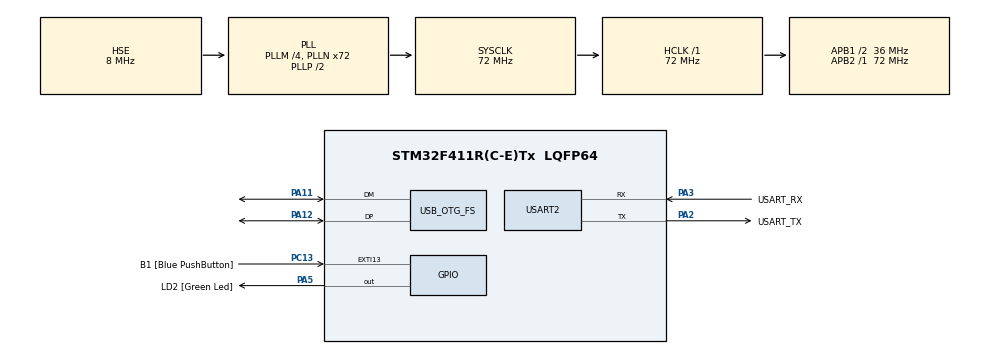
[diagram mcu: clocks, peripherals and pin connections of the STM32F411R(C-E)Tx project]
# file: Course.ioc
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IWDG.Prescaler=IWDG_PRESCALER_128
Mcu.Family=STM32F4
Mcu.Name=STM32F411R(C-E)Tx
Mcu.Package=LQFP64
NVIC.EXTI15_10_IRQn=true\:0\:0\:false\:false\:true\:true\:true\:true
NVIC.OTG_FS_IRQn=true\:0\:0\:false\:false\:true\:true\:true\:true
NVIC.PriorityGroup=NVIC_PRIORITYGROUP_0
PA11.Mode=Device_Only
PA11.Signal=USB_OTG_FS_DM
PA12.Mode=Device_Only
PA12.Signal=USB_OTG_FS_DP
PA13.GPIO_Label=TMS
PA13.Mode=Serial_Wire
PA13.Signal=SYS_JTMS-SWDIO
PA14.GPIO_Label=TCK
PA14.Mode=Serial_Wire
PA14.Signal=SYS_JTCK-SWCLK
PA2.GPIO_Label=USART_TX
PA2.Mode=Asynchronous
PA2.Signal=USART2_TX
PA3.GPIO_Label=USART_RX
PA3.Mode=Asynchronous
PA3.Signal=USART2_RX
PA5.GPIO_Label=LD2 [Green Led]
PA5.Signal=GPIO_Output
PB3.GPIO_Label=SWO
PB3.Signal=SYS_JTDO-SWO
PC13-ANTI_TAMP.GPIO_Label=B1 [Blue PushButton]
PC13-ANTI_TAMP.GPIO_ModeDefaultEXTI=GPIO_MODE_IT_FALLING
PC13-ANTI_TAMP.Signal=GPXTI13
PC14-OSC32_IN.Mode=LSE-External-Oscillator
PC14-OSC32_IN.Signal=RCC_OSC32_IN
PC15-OSC32_OUT.Mode=LSE-External-Oscillator
PC15-OSC32_OUT.Signal=RCC_OSC32_OUT
PH0\ -\ OSC_IN.Mode=HSE-External-Clock-Source
PH0\ -\ OSC_IN.Signal=RCC_OSC_IN
PH1\ -\ OSC_OUT.Mode=HSE-External-Clock-Source
PH1\ -\ OSC_OUT.Signal=RCC_OSC_OUT
ProjectManager.HeapSize=0x200
ProjectManager.StackSize=0x400
ProjectManager.TargetToolchain=STM32CubeIDE
RCC.48MHZClocksFreq_Value=48000000
RCC.AHBFreq_Value=72000000
RCC.APB1CLKDivider=RCC_HCLK_DIV2
RCC.APB1Freq_Value=36000000
RCC.APB1TimFreq_Value=72000000
RCC.APB2Freq_Value=72000000
RCC.APB2TimFreq_Value=72000000
RCC.CortexFreq_Value=72000000
RCC.FLatency-AdvancedSettings=FLASH_LATENCY_2
RCC.HCLKFreq_Value=72000000
RCC.HSE_VALUE=8000000
RCC.HSI_VALUE=16000000
RCC.PLLM=4
RCC.PLLN=72
RCC.PLLQ=3
RCC.SYSCLKFreq_VALUE=72000000
RCC.SYSCLKSource=RCC_SYSCLKSOURCE_PLLCLK
RCC.VCOOutputFreq_Value=144000000
USART2.VirtualMode=VM_ASYNC
USB_DEVICE.CLASS_NAME_FS=CDC
USB_DEVICE.VirtualMode=Cdc
USB_DEVICE.VirtualModeFS=Cdc_FS
USB_OTG_FS.VirtualMode=Device_Only
VP_IWDG_VS_IWDG.Mode=IWDG_Activate
VP_USB_DEVICE_VS_USB_DEVICE_CDC_FS.Mode=CDC_FS
board=NUCLEO-F411RE

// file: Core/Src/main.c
/* USER CODE BEGIN Header */
/**
  ******************************************************************************
  * @file           : main.c
  * @brief          : Booter with USB CDC + HEX Parser + Flash Write (Sector 4)
  ******************************************************************************
  */
/* USER CODE END Header */
#include "main.h"
#include "usb_device.h"
#include "bootloader.h"
#include "boot_core.h"
#include "led_indicator.h"
#include <stdbool.h>

/* USER CODE BEGIN PD */
#define LED_PATTERN              0b10101000  // 3 вспышки + пауза
#define HEX_LINE_BUFFER_SIZE     128
/* USER CODE END PD */

IWDG_HandleTypeDef hiwdg;
UART_HandleTypeDef huart2;

/* USER CODE BEGIN PV */
RawCSR_t g_csr = {0};

static char g_line_buffer[HEX_LINE_BUFFER_SIZE];
static uint16_t g_line_pos = 0;
static bool g_cdc_ready = false;
static bool g_programming_mode = false;

// ============================================================================
// Глобальная переменная для таймера 5-секундного окна
// ============================================================================
volatile uint32_t g_start_time = 0;
/* USER CODE END PV */

void SystemClock_Config(void);
static void MX_GPIO_Init(void);
static void MX_USART2_UART_Init(void);
static void MX_IWDG_Init(void);
/* USER CODE BEGIN PFP */
void CDC_Receive_Handler(uint8_t* Buf, uint32_t Len);
void MX_USB_DEVICE_Init(void);
/* USER CODE END PFP */

/* USER CODE BEGIN 0 */

// ============================================================================
//  ОБРАБОТЧИК ПРИНЯТЫХ ПО USB CDC ДАННЫХ
// ============================================================================
void CDC_Receive_Handler(uint8_t* Buf, uint32_t Len)
{
    if (!g_cdc_ready) return;

    for (uint32_t i = 0; i < Len; i++)
    {
        char c = (char)Buf[i];

        if (c == '\n')
        {
            if (g_line_pos > 0)
            {
                g_line_buffer[g_line_pos] = '\0';

                if (!HexProcessing_ProcessLine(g_line_buffer))
                {
                    g_cdc_ready = false;
                    g_programming_mode = false;
                    return;
                }
                g_line_pos = 0;
            }
        }
        else if (c == '\r')
        {
            continue;
        }
        else
        {
            if (g_line_pos < HEX_LINE_BUFFER_SIZE - 1)
            {
                g_line_buffer[g_line_pos++] = c;
            }
            else
            {
                SetError(ERROR_CRC);
                g_cdc_ready = false;
                g_programming_mode = false;
                return;
            }
        }
    }

    // Завершение приема HEX-файла
    if (g_hex_processing_done)
    {
        g_cdc_ready = false;
        g_programming_mode = false;
        HexProcessing_Finalize();

        // Сброс состояния для возврата в нормальный режим с паттерном мигания
        led_set_state(LED_STATE_IDLE);
        g_start_time = HAL_GetTick();
    }
}

/* USER CODE END 0 */

int main(void)
{

  /* MCU Configuration--------------------------------------------------------*/

  /* Reset of all peripherals, Initializes the Flash interface and the Systick. */
  HAL_Init();

  /* Configure the system clock */
  SystemClock_Config();

  /* Initialize all configured peripherals */
  MX_GPIO_Init();
  MX_USART2_UART_Init();
  MX_USB_DEVICE_Init();
  MX_IWDG_Init();

  /* USER CODE BEGIN 2 */
  Read_Raw_CSR(&g_csr);
  __HAL_RCC_CLEAR_RESET_FLAGS();

  HexProcessing_Init();
  led_init(LD2_GPIO_Port, LD2_Pin);

  g_line_pos = 0;
  g_cdc_ready = false;
  g_programming_mode = false;
  led_set_state(LED_STATE_IDLE);
  g_start_time = HAL_GetTick();

  uint32_t last_led_tick = 0;
  uint32_t last_check = 0;
  uint8_t led_step = 0;
  /* USER CODE END 2 */

  /* Infinite loop */
  /* USER CODE BEGIN WHILE */
  while (1)
  {
    FeedWatchdog();

    uint32_t now = HAL_GetTick();

    // ========================================================================
    // ВЫЗОВ КОНЕЧНОГО АВТОМАТА СВЕТОДИОДА (ВСЕГДА)
    // ========================================================================
    led_update();

    // ========================================================================
    // РЕЖИМ ПРОГРАММИРОВАНИЯ (ожидание завершения)
    // ========================================================================
    if (g_programming_mode)
    {
        if (!g_cdc_ready)
        {
            g_programming_mode = false;
        }
        continue;
    }

    // ========================================================================
    // НОРМАЛЬНЫЙ РЕЖИМ: проверка таймаута 5 секунд
    // ========================================================================
    if ((now - g_start_time) >= 5000)
    {
        AppStart();
    }

    // ========================================================================
    // ПАТТЕРН МИГАНИЯ (только в режиме IDLE)
    // ========================================================================
    if (led_get_state() == LED_STATE_IDLE)
    {
        if ((now - last_led_tick) >= 100)
        {
            last_led_tick = now;

            if (LED_PATTERN & (1 << (7 - led_step)))
                led_on();
            else
                led_off();

            led_step = (led_step + 1) % 8;
        }
    }

    // ========================================================================
    // ПРОВЕРКА КНОПКИ (каждые 50ms)
    // ========================================================================
    if ((now - last_check) >= 50)
    {
        last_check = now;

        if (HAL_GPIO_ReadPin(B1_GPIO_Port, B1_Pin) == GPIO_PIN_RESET)
        {
            HAL_Delay(50);  // debounce
            if (HAL_GPIO_ReadPin(B1_GPIO_Port, B1_Pin) == GPIO_PIN_RESET)
            {
                // Кнопка нажата → вход в режим программирования
                HexProcessing_Init();
                g_line_pos = 0;
                g_cdc_ready = true;
                g_programming_mode = true;
                led_set_state(LED_STATE_PROG_MODE);
                // g_start_time НЕ сбрасываем, чтобы после выхода сохранился отсчет
            }
        }
    }

    /* USER CODE END WHILE */

  }
}

void SystemClock_Config(void)
{
  RCC_OscInitTypeDef RCC_OscInitStruct = {0};
  RCC_ClkInitTypeDef RCC_ClkInitStruct = {0};

  /** Configure the main internal regulator output voltage
  */
  __HAL_RCC_PWR_CLK_ENABLE();
  __HAL_PWR_VOLTAGESCALING_CONFIG(PWR_REGULATOR_VOLTAGE_SCALE1);

  /** Initializes the RCC Oscillators according to the specified parameters
  * in the RCC_OscInitTypeDef structure.
  */
  RCC_OscInitStruct.OscillatorType = RCC_OSCILLATORTYPE_LSI|RCC_OSCILLATORTYPE_HSE;
  RCC_OscInitStruct.HSEState = RCC_HSE_BYPASS;
  RCC_OscInitStruct.LSIState = RCC_LSI_ON;
  RCC_OscInitStruct.PLL.PLLState = RCC_PLL_ON;
  RCC_OscInitStruct.PLL.PLLSource = RCC_PLLSOURCE_HSE;
  RCC_OscInitStruct.PLL.PLLM = 4;
  RCC_OscInitStruct.PLL.PLLN = 72;
  RCC_OscInitStruct.PLL.PLLP = RCC_PLLP_DIV2;
  RCC_OscInitStruct.PLL.PLLQ = 3;
  if (HAL_RCC_OscConfig(&RCC_OscInitStruct) != HAL_OK)
  {
    Error_Handler();
  }

  /** Initializes the CPU, AHB and APB buses clocks
  */
  RCC_ClkInitStruct.ClockType = RCC_CLOCKTYPE_HCLK|RCC_CLOCKTYPE_SYSCLK
                              |RCC_CLOCKTYPE_PCLK1|RCC_CLOCKTYPE_PCLK2;
  RCC_ClkInitStruct.SYSCLKSource = RCC_SYSCLKSOURCE_PLLCLK;
  RCC_ClkInitStruct.AHBCLKDivider = RCC_SYSCLK_DIV1;
  RCC_ClkInitStruct.APB1CLKDivider = RCC_HCLK_DIV2;
  RCC_ClkInitStruct.APB2CLKDivider = RCC_HCLK_DIV1;

  if (HAL_RCC_ClockConfig(&RCC_ClkInitStruct, FLASH_LATENCY_2) != HAL_OK)
  {
    Error_Handler();
  }
}

static void MX_IWDG_Init(void)
{
  hiwdg.Instance = IWDG;
  hiwdg.Init.Prescaler = IWDG_PRESCALER_128;
  hiwdg.Init.Reload = 4095;
  if (HAL_IWDG_Init(&hiwdg) != HAL_OK)
  {
    Error_Handler();
  }
}

static void MX_USART2_UART_Init(void)
{
  huart2.Instance = USART2;
  huart2.Init.BaudRate = 115200;
  huart2.Init.WordLength = UART_WORDLENGTH_8B;
  huart2.Init.StopBits = UART_STOPBITS_1;
  huart2.Init.Parity = UART_PARITY_NONE;
  huart2.Init.Mode = UART_MODE_TX_RX;
  huart2.Init.HwFlowCtl = UART_HWCONTROL_NONE;
  huart2.Init.OverSampling = UART_OVERSAMPLING_16;
  if (HAL_UART_Init(&huart2) != HAL_OK)
  {
    Error_Handler();
  }
}

static void MX_GPIO_Init(void)
{
  GPIO_InitTypeDef GPIO_InitStruct = {0};

  /* GPIO Ports Clock Enable */
  __HAL_RCC_GPIOC_CLK_ENABLE();
  __HAL_RCC_GPIOH_CLK_ENABLE();
  __HAL_RCC_GPIOA_CLK_ENABLE();
  __HAL_RCC_GPIOB_CLK_ENABLE();

  /*Configure GPIO pin Output Level */
  HAL_GPIO_WritePin(LD2_GPIO_Port, LD2_Pin, GPIO_PIN_RESET);

  /*Configure GPIO pin : B1_Pin */
  GPIO_InitStruct.Pin = B1_Pin;
  GPIO_InitStruct.Mode = GPIO_MODE_INPUT;
  GPIO_InitStruct.Pull = GPIO_NOPULL;
  HAL_GPIO_Init(B1_GPIO_Port, &GPIO_InitStruct);

  /*Configure GPIO pin : LD2_Pin */
  GPIO_InitStruct.Pin = LD2_Pin;
  GPIO_InitStruct.Mode = GPIO_MODE_OUTPUT_PP;
  GPIO_InitStruct.Pull = GPIO_NOPULL;
  GPIO_InitStruct.Speed = GPIO_SPEED_FREQ_LOW;
  HAL_GPIO_Init(LD2_GPIO_Port, &GPIO_InitStruct);
}

void Error_Handler(void)
{
  __disable_irq();
  while (1)
  {
  }
}
